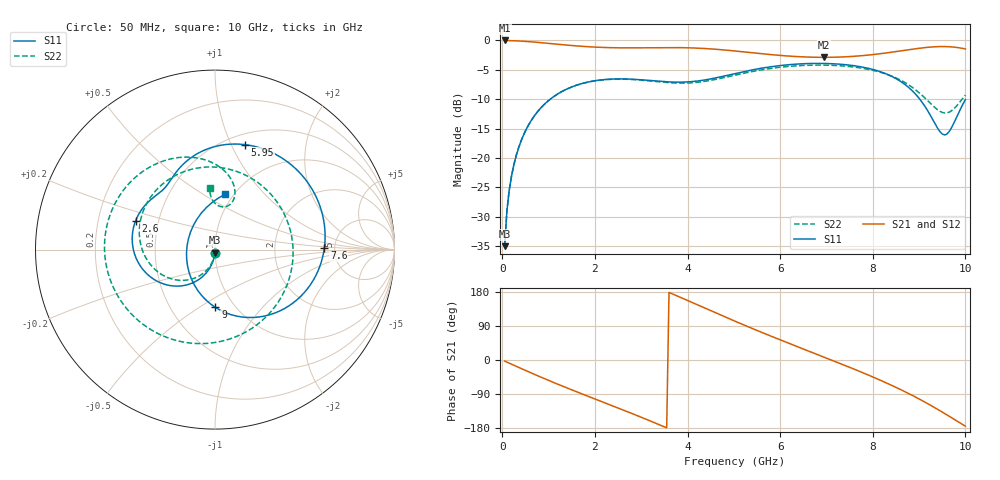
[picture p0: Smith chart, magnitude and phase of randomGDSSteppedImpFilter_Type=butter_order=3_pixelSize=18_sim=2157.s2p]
! freq	dB(S11)	phase(S11)	dB(S12)	phase(S12)
!  dB(S21)	phase(S21)	dB(S22)	phase(S22)
!S-par simulation data
#  GHz  S  DB  R 50
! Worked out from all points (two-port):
!   200 points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, 50 MHz to 10 GHz, reference 50 ohm
!   highest |S21| = -0.01 dB at 50 MHz (marker M1); lowest = -2.9 dB at 6.95 GHz (marker M2)
!   |S21| within 3 dB of the highest: start of sweep to end of sweep
!   lowest |S11| = -35.0 dB at 50 MHz (marker M3), VSWR 1.04, Z = 49.9 - j1.77 ohm
!   |S11| at or under -10 dB: start of sweep to 1.035 GHz; 9.015 GHz to end of sweep
!   |S22| runs from -35.0 to -4.2 dB; largest |S21 - S12| = 0
!   S11 on the Smith chart (normalised r, x): 50 MHz: 1.00, -0.04; 2.6 GHz: 0.37, +0.15; 5.95 GHz: 0.61, +1.13; 7.6 GHz: 4.11, +0.11; 9 GHz: 0.82, -0.59; 10 GHz: 0.92, +0.63
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0.05  -35.00 -92.3  -0.01 -2.8  -0.01 -2.8  -34.95 -93.1
0.1  -28.96 -95.2  -0.02 -5.6  -0.02 -5.6  -28.96 -96.2
0.2  -23.04 -100.6  -0.04 -11.1  -0.04 -11.1  -23.02 -102.4
0.5  -15.39 -115.4  -0.16 -27.5  -0.16 -27.5  -15.39 -120.6
1.1  -9.61 -143.4  -0.58 -58.9  -0.58 -58.9  -9.61 -155.7
1.75  -7.27 -170.2  -1.02 -90.9  -1.02 -90.9  -7.28 167.3
2.6  -6.55 160.2  -1.26 -131.5  -1.26 -131.5  -6.59 115.9
3  -6.70 148.8  -1.25 -151.0  -1.25 -151.0  -6.76 88.4
3.4  -6.95 139.4  -1.22 -171.3  -1.22 -171.3  -7.06 57.5
3.8  -7.10 131.9  -1.22 167.8  -1.22 167.8  -7.27 23.2
4.2  -6.92 125.3  -1.31 146.4  -1.31 146.4  -7.14 -12.9
4.65  -6.30 116.3  -1.53 122.2  -1.53 122.2  -6.56 -52.3
5.05  -5.60 105.8  -1.82 101.1  -1.82 101.1  -5.86 -83.9
5.45  -4.94 92.8  -2.14 80.5  -2.14 80.5  -5.21 -111.9
5.95  -4.32 74.2  -2.52 55.7  -2.52 55.7  -4.61 -142.7
6.7  -3.92 42.8  -2.86 19.5  -2.86 19.5  -4.20 176.9
6.95  -3.92 31.7  -2.88 7.5  -2.88 7.5  -4.20 164.4
7.6  -4.31 0.8  -2.70 -24.2  -2.70 -24.2  -4.54 132.8
8.35  -5.90 -40.5  -2.07 -63.6  -2.07 -63.6  -5.89 97.5
9  -9.85 -89.7  -1.34 -102.8  -1.34 -102.8  -8.89 72.4
9.55  -16.08 172.5  -1.04 -141.0  -1.04 -141.0  -12.34 80.1
10  -10.06 79.5  -1.45 -174.7  -1.45 -174.7  -9.29 94.9
